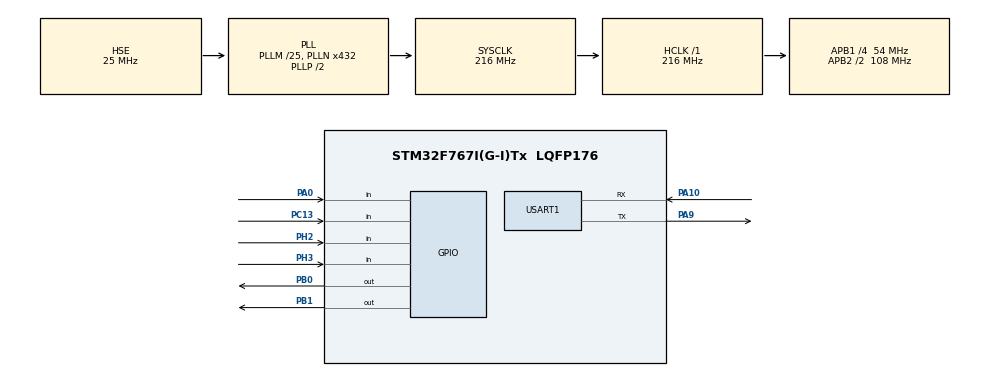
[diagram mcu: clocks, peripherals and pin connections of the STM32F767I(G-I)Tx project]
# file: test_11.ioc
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CORTEX_M7.default_mode_Activation=1
Mcu.Family=STM32F7
Mcu.Name=STM32F767I(G-I)Tx
Mcu.Package=LQFP176
NVIC.PriorityGroup=NVIC_PRIORITYGROUP_2
NVIC.USART1_IRQn=true\:3\:3\:true\:false\:true\:true\:true\:true
PA0/WKUP.GPIO_PuPd=GPIO_PULLDOWN
PA0/WKUP.Signal=GPIO_Input
PA10.GPIO_PuPd=GPIO_PULLUP
PA10.Mode=Asynchronous
PA10.Signal=USART1_RX
PA9.GPIO_PuPd=GPIO_PULLUP
PA9.Mode=Asynchronous
PA9.Signal=USART1_TX
PB0.GPIO_ModeDefaultOutputPP=GPIO_MODE_OUTPUT_PP
PB0.GPIO_PuPd=GPIO_PULLUP
PB0.GPIO_Speed=GPIO_SPEED_FREQ_HIGH
PB0.PinState=GPIO_PIN_SET
PB0.Signal=GPIO_Output
PB1.GPIO_ModeDefaultOutputPP=GPIO_MODE_OUTPUT_PP
PB1.GPIO_PuPd=GPIO_PULLUP
PB1.GPIO_Speed=GPIO_SPEED_FREQ_HIGH
PB1.PinState=GPIO_PIN_SET
PB1.Signal=GPIO_Output
PC13.GPIO_PuPd=GPIO_PULLUP
PC13.Signal=GPIO_Input
PH0/OSC_IN.Mode=HSE-External-Oscillator
PH0/OSC_IN.Signal=RCC_OSC_IN
PH1/OSC_OUT.Mode=HSE-External-Oscillator
PH1/OSC_OUT.Signal=RCC_OSC_OUT
PH2.GPIO_PuPd=GPIO_PULLUP
PH2.Signal=GPIO_Input
PH3.GPIO_PuPd=GPIO_PULLUP
PH3.Signal=GPIO_Input
ProjectManager.HeapSize=0x200
ProjectManager.StackSize=0x400
ProjectManager.TargetToolchain=MDK-ARM V5.32
RCC.AHBFreq_Value=216000000
RCC.APB1CLKDivider=RCC_HCLK_DIV4
RCC.APB1Freq_Value=54000000
RCC.APB1TimFreq_Value=108000000
RCC.APB2CLKDivider=RCC_HCLK_DIV2
RCC.APB2Freq_Value=108000000
RCC.APB2TimFreq_Value=216000000
RCC.CortexFreq_Value=216000000
RCC.HCLKFreq_Value=216000000
RCC.HSE_VALUE=25000000
RCC.HSI_VALUE=16000000
RCC.LSE_VALUE=32768
RCC.PLLM=25
RCC.PLLN=432
RCC.PLLSourceVirtual=RCC_PLLSOURCE_HSE
RCC.SYSCLKFreq_VALUE=216000000
RCC.SYSCLKSource=RCC_SYSCLKSOURCE_PLLCLK
RCC.USBFreq_Value=216000000
RCC.VCOOutputFreq_Value=432000000
USART1.VirtualMode-Asynchronous=VM_ASYNC
board=custom

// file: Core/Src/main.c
/* USER CODE BEGIN Header */
/**
  ******************************************************************************
  * @file           : main.c
  * @brief          : Main program body
  ******************************************************************************
  * @attention
  *
  * Copyright (c) 2022 STMicroelectronics.
  * All rights reserved.
  *
  * This software is licensed under terms that can be found in the LICENSE file
  * in the root directory of this software component.
  * If no LICENSE file comes with this software, it is provided AS-IS.
  *
  ******************************************************************************
  */
/* USER CODE END Header */
#include "main.h"
#include "usart.h"
#include "gpio.h"
/* USER CODE BEGIN Includes */
#include "stdio.h"
#include "sys.h"
#include "delay.h"
#include "led.h"
#include "key.h"
#include "mpu.h"
/* USER CODE END Includes */

/* USER CODE BEGIN PV */
u8 mpudata[128] __attribute__((at(0X20002000)));//定义一个数组
/* USER CODE END PV */

void SystemClock_Config(void);
static void MPU_Config(void);

/* USER CODE BEGIN 0 */
//////////////////////////////////////////////////////////////////////////////////
//加入以下代码,支持printf函数,而不需要选择use MicroLIB
//#define PUTCHAR_PROTOTYPE int fputc(int ch, FILE *f)
#if 1
#pragma import(__use_no_semihosting)
//标准库需要的支持函数
struct __FILE
{
	int handle;
};

FILE __stdout;
//定义_sys_exit()以避免使用半主机模式
void _sys_exit(int x)
{
	x = x;
}
//重定义fputc函数
int fputc(int ch, FILE *f)
{
	while((USART1->ISR&0X40)==0);//循环发送,直到发送完毕
	USART1->TDR=(u8)ch;
	return ch;
}
#endif
/* USER CODE END 0 */

int main(void)
{
  /* USER CODE BEGIN 1 */
  u8 i=0;		//记录程序运行
  u8 key;		//按键
  /* USER CODE END 1 */

  /* MPU Configuration--------------------------------------------------------*/
  MPU_Config();

  /* MCU Configuration--------------------------------------------------------*/

  /* Reset of all peripherals, Initializes the Flash interface and the Systick. */
  HAL_Init();

  /* Configure the system clock */
  SystemClock_Config();

  /* Initialize all configured peripherals */
  MX_GPIO_Init();
  MX_USART1_UART_Init();
  /* USER CODE BEGIN 2 */
  printf("\r\n\r\nMPU closed!\r\n");	//提示MPU关闭
  /* USER CODE END 2 */

  /* Infinite loop */
  /* USER CODE BEGIN WHILE */
  while (1)
  {
	key=KEY_Scan(0);
	if(key==WKUP_PRES)              //使能MPU保护数组 mpudata;
	{
		MPU_Set_Protection(0X20002000,MPU_REGION_SIZE_128B,MPU_REGION_NUMBER0,MPU_REGION_PRIV_RO_URO);//只读
		printf("MPU open!\r\n");	//提示MPU打开
	}else if(key==KEY0_PRES)        //向数组中写入数据，如果开启了MPU保护的话会进入内存访问错误！
	{
		printf("Start Writing data...\r\n");
		sprintf((char*)mpudata,"MPU test array %d",i);
		printf("Data Write finshed!\r\n");
	}else if(key==KEY1_PRES)		//从数组中读取数据，不管有没有开启MPU保护都不会进入内存访问错误！
	{
		printf("Array data is:%s\r\n",mpudata);
	}else HAL_Delay(10);
	i++;
	if((i%50)==0) LED0_Toggle;

    /* USER CODE END WHILE */

  }
}

void SystemClock_Config(void)
{
  RCC_OscInitTypeDef RCC_OscInitStruct = {0};
  RCC_ClkInitTypeDef RCC_ClkInitStruct = {0};

  /** Configure the main internal regulator output voltage
  */
  __HAL_RCC_PWR_CLK_ENABLE();
  __HAL_PWR_VOLTAGESCALING_CONFIG(PWR_REGULATOR_VOLTAGE_SCALE1);

  /** Initializes the RCC Oscillators according to the specified parameters
  * in the RCC_OscInitTypeDef structure.
  */
  RCC_OscInitStruct.OscillatorType = RCC_OSCILLATORTYPE_HSE;
  RCC_OscInitStruct.HSEState = RCC_HSE_ON;
  RCC_OscInitStruct.PLL.PLLState = RCC_PLL_ON;
  RCC_OscInitStruct.PLL.PLLSource = RCC_PLLSOURCE_HSE;
  RCC_OscInitStruct.PLL.PLLM = 25;
  RCC_OscInitStruct.PLL.PLLN = 432;
  RCC_OscInitStruct.PLL.PLLP = RCC_PLLP_DIV2;
  RCC_OscInitStruct.PLL.PLLQ = 2;
  RCC_OscInitStruct.PLL.PLLR = 2;
  if (HAL_RCC_OscConfig(&RCC_OscInitStruct) != HAL_OK)
  {
    Error_Handler();
  }

  /** Activate the Over-Drive mode
  */
  if (HAL_PWREx_EnableOverDrive() != HAL_OK)
  {
    Error_Handler();
  }

  /** Initializes the CPU, AHB and APB buses clocks
  */
  RCC_ClkInitStruct.ClockType = RCC_CLOCKTYPE_HCLK|RCC_CLOCKTYPE_SYSCLK
                              |RCC_CLOCKTYPE_PCLK1|RCC_CLOCKTYPE_PCLK2;
  RCC_ClkInitStruct.SYSCLKSource = RCC_SYSCLKSOURCE_PLLCLK;
  RCC_ClkInitStruct.AHBCLKDivider = RCC_SYSCLK_DIV1;
  RCC_ClkInitStruct.APB1CLKDivider = RCC_HCLK_DIV4;
  RCC_ClkInitStruct.APB2CLKDivider = RCC_HCLK_DIV2;

  if (HAL_RCC_ClockConfig(&RCC_ClkInitStruct, FLASH_LATENCY_7) != HAL_OK)
  {
    Error_Handler();
  }
}

/* MPU Configuration */

void MPU_Config(void)
{
  MPU_Region_InitTypeDef MPU_InitStruct = {0};

  /* Disables the MPU */
  HAL_MPU_Disable();

  /** Initializes and configures the Region and the memory to be protected
  */
  MPU_InitStruct.Enable = MPU_REGION_ENABLE;
  MPU_InitStruct.Number = MPU_REGION_NUMBER0;
  MPU_InitStruct.BaseAddress = 0x0;
  MPU_InitStruct.Size = MPU_REGION_SIZE_4GB;
  MPU_InitStruct.SubRegionDisable = 0x87;
  MPU_InitStruct.TypeExtField = MPU_TEX_LEVEL0;
  MPU_InitStruct.AccessPermission = MPU_REGION_NO_ACCESS;
  MPU_InitStruct.DisableExec = MPU_INSTRUCTION_ACCESS_DISABLE;
  MPU_InitStruct.IsShareable = MPU_ACCESS_SHAREABLE;
  MPU_InitStruct.IsCacheable = MPU_ACCESS_NOT_CACHEABLE;
  MPU_InitStruct.IsBufferable = MPU_ACCESS_NOT_BUFFERABLE;

  HAL_MPU_ConfigRegion(&MPU_InitStruct);
  /* Enables the MPU */
  HAL_MPU_Enable(MPU_PRIVILEGED_DEFAULT);

}

void Error_Handler(void)
{
  __disable_irq();
  while (1)
  {
  }
}
